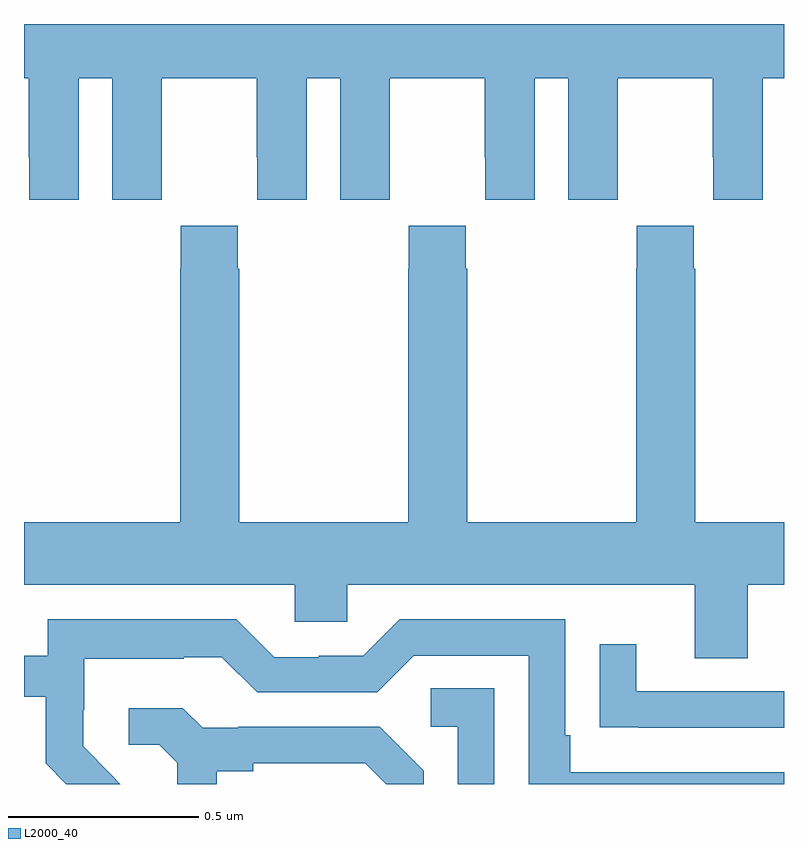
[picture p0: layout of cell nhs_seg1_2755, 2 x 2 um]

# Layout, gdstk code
import gdstk
lib = gdstk.Library(unit=1e-6, precision=1e-09)
def P(c, l, *ps):  # polygons
    for p in ps: c.add(gdstk.Polygon(p, *l))
L2000_40 = (2000, 40)

nhs_seg1_2755 = lib.new_cell('nhs_seg1_2755')
P(nhs_seg1_2755, L2000_40, [(145.144,561.056),(145.232,561.056),(145.232,560.736),(145.362,560.736),(145.362,560.848),(145.363,560.848),(145.363,561.056),(145.613,561.056),(145.613,560.848),(145.614,560.848),(145.614,560.736),(145.744,560.736),(145.744,561.056),(145.832,561.056),(145.832,560.736),(145.962,560.736),(145.962,560.848),(145.963,560.848),(145.963,561.056),(146.213,561.056),(146.213,560.848),(146.214,560.848),(146.214,560.736),(146.344,560.736),(146.344,561.056),(146.432,561.056),(146.432,560.736),(146.562,560.736),(146.562,560.848),(146.563,560.848),(146.563,561.056),(146.813,561.056),(146.813,560.848),(146.814,560.848),(146.814,560.736),(146.944,560.736),(146.944,561.056),(147,561.056),(147,561.199),(145,561.199),(145,561.056),(145.013,561.056),(145.013,560.848),(145.014,560.848),(145.014,560.736),(145.144,560.736)],
  [(146.905,559.724),(147,559.724),(147,559.888),(146.766,559.888),(146.766,560.555),(146.763,560.555),(146.763,560.668),(146.613,560.668),(146.613,560.555),(146.611,560.555),(146.611,559.888),(146.166,559.888),(146.166,560.555),(146.163,560.555),(146.163,560.668),(146.013,560.668),(146.013,560.555),(146.011,560.555),(146.011,559.888),(145.566,559.888),(145.566,560.555),(145.563,560.555),(145.563,560.668),(145.413,560.668),(145.413,560.555),(145.411,560.555),(145.411,559.888),(145,559.888),(145,559.724),(145.713,559.724),(145.713,559.626),(145.851,559.626),(145.851,559.724),(146.765,559.724),(146.765,559.53),(146.905,559.53)],
  [(145.229,559.223),(145.23,559.224),(145.156,559.298),(145.156,559.395),(145.158,559.395),(145.158,559.529),(145.421,559.529),(145.421,559.533),(145.521,559.533),(145.614,559.44),(145.929,559.44),(146.025,559.536),(146.328,559.536),(146.328,559.199),(147,559.199),(147,559.23),(146.437,559.23),(146.437,559.327),(146.424,559.327),(146.424,559.632),(145.989,559.632),(145.893,559.536),(145.775,559.536),(145.775,559.533),(145.659,559.533),(145.559,559.633),(145.062,559.633),(145.062,559.536),(145,559.536),(145,559.428),(145.057,559.428),(145.057,559.253),(145.111,559.199),(145.253,559.199)],
  [(147,559.443),(146.611,559.443),(146.611,559.567),(146.515,559.567),(146.515,559.348),(146.617,559.348),(146.617,559.347),(147,559.347)],
  [(146.238,559.451),(146.07,559.451),(146.07,559.35),(146.142,559.35),(146.142,559.199),(146.238,559.199)],
  [(145.507,559.232),(145.603,559.232),(145.603,559.254),(145.898,559.254),(145.953,559.199),(146.052,559.199),(146.052,559.234),(145.936,559.35),(145.564,559.35),(145.564,559.347),(145.47,559.347),(145.418,559.399),(145.275,559.399),(145.275,559.302),(145.356,559.302),(145.403,559.255),(145.403,559.199),(145.507,559.199)])

lib.write_gds('nhs_seg1_2755.gds')
